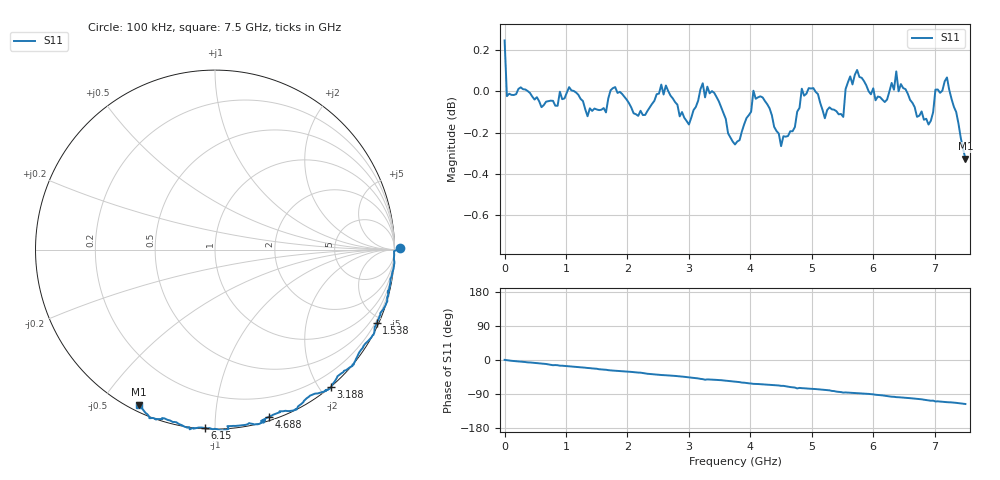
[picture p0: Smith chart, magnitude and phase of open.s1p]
# Hz S RI R 50.000000
! FREQ  re:S1  1  im:S1  1
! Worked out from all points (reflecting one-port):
!   201 points, 100 kHz to 7.5 GHz, reference 50 ohm
!   lowest |S11| = -0.3 dB at 7.5 GHz (marker M1), VSWR 53.20, Z = 1.31 - j31.2 ohm
!   phase of S11 starts at 0 deg and turns -116 deg over the sweep
!   S11 on the Smith chart (normalised r, x): 100 kHz: -67, +15; 1.538 GHz: 0.12, -4.62; 3.188 GHz: -0.00, -2.16; 4.688 GHz: 0.03, -1.37; 6.15 GHz: 0.00, -0.94; 7.5 GHz: 0.03, -0.62
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100000  1.029 0.00661
3.75995e7  0.9974 -0.00896
6.75091e8  0.9776 -0.1817
7.875895e8  0.9663 -0.2364
9.375875e8  0.9613 -0.2595
1.53758e9  0.9012 -0.4088
1.875075e9  0.8741 -0.4853
2.21257e9  0.8258 -0.5447
2.550066e9  0.7735 -0.6399
2.850062e9  0.7187 -0.6753
3.187558e9  0.6465 -0.7646
3.262556e9  0.6134 -0.7856
3.75005e9  0.5294 -0.8137
4.050046e9  0.4543 -0.8913
4.53754e9  0.3621 -0.9056
4.687538e9  0.3014 -0.9304
4.762536e9  0.2562 -0.955
4.800036e9  0.2794 -0.9507
5.25003e9  0.1825 -0.9727
5.512526e9  0.069 -0.9834
5.625025e9  0.0597 -1.007
6.150018e9  -0.0583 -0.9937
6.300016e9  -0.1197 -0.9976
6.600012e9  -0.1852 -0.9779
6.975007e9  -0.2931 -0.944
7.012506e9  -0.3323 -0.9443
7.200004e9  -0.366 -0.9391
7.5e9  -0.424 -0.8647
